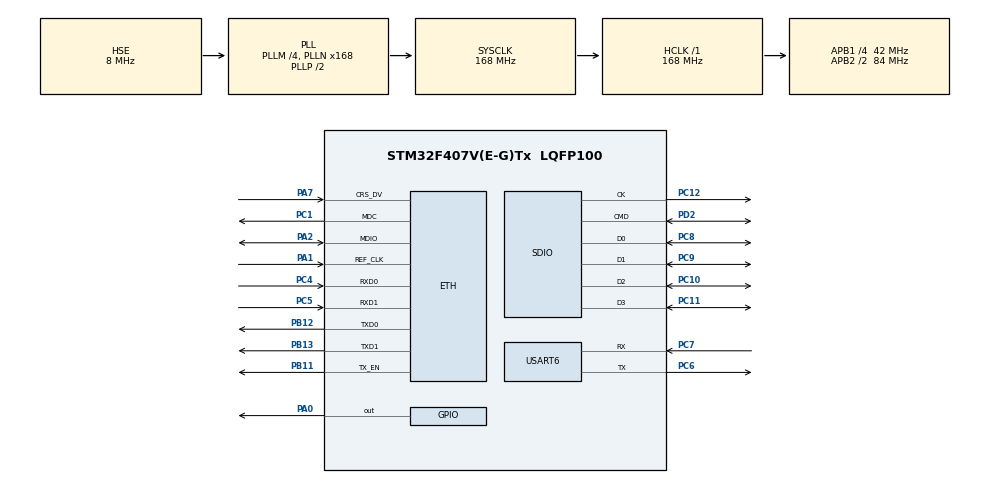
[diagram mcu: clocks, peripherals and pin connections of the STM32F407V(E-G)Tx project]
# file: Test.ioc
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Dma.Request0=SDIO_RX
Dma.Request1=SDIO_TX
Dma.SDIO_RX.0.Direction=DMA_PERIPH_TO_MEMORY
Dma.SDIO_RX.0.FIFOMode=DMA_FIFOMODE_ENABLE
Dma.SDIO_RX.0.FIFOThreshold=DMA_FIFO_THRESHOLD_FULL
Dma.SDIO_RX.0.Instance=DMA2_Stream3
Dma.SDIO_RX.0.MemBurst=DMA_MBURST_INC4
Dma.SDIO_RX.0.MemDataAlignment=DMA_MDATAALIGN_WORD
Dma.SDIO_RX.0.MemInc=DMA_MINC_ENABLE
Dma.SDIO_RX.0.Mode=DMA_PFCTRL
Dma.SDIO_RX.0.PeriphBurst=DMA_PBURST_INC4
Dma.SDIO_RX.0.PeriphDataAlignment=DMA_PDATAALIGN_WORD
Dma.SDIO_RX.0.PeriphInc=DMA_PINC_DISABLE
Dma.SDIO_RX.0.Priority=DMA_PRIORITY_LOW
Dma.SDIO_TX.1.Direction=DMA_MEMORY_TO_PERIPH
Dma.SDIO_TX.1.FIFOMode=DMA_FIFOMODE_ENABLE
Dma.SDIO_TX.1.FIFOThreshold=DMA_FIFO_THRESHOLD_FULL
Dma.SDIO_TX.1.Instance=DMA2_Stream6
Dma.SDIO_TX.1.MemBurst=DMA_MBURST_INC4
Dma.SDIO_TX.1.MemDataAlignment=DMA_MDATAALIGN_WORD
Dma.SDIO_TX.1.MemInc=DMA_MINC_ENABLE
Dma.SDIO_TX.1.Mode=DMA_PFCTRL
Dma.SDIO_TX.1.PeriphBurst=DMA_PBURST_INC4
Dma.SDIO_TX.1.PeriphDataAlignment=DMA_PDATAALIGN_WORD
Dma.SDIO_TX.1.PeriphInc=DMA_PINC_DISABLE
Dma.SDIO_TX.1.Priority=DMA_PRIORITY_LOW
ETH.MediaInterface=ETH_MEDIA_INTERFACE_RMII
FATFS.USE_DMA_CODE_SD=1
FATFS._MAX_SS=4096
LWIP.GATEWAY_ADDRESS=192.168.018.001
LWIP.IP_ADDRESS=192.168.018.125
LWIP.LWIP_DHCP=0
LWIP.LWIP_HTTPD=1
LWIP.LWIP_HTTPD_CGI=1
LWIP.LWIP_HTTPD_DYNAMIC_HEADERS=1
LWIP.LWIP_HTTPD_MAX_CGI_PARAMETERS=16
LWIP.LWIP_HTTPD_MAX_TAG_INSERT_LEN=6000
LWIP.LWIP_HTTPD_MAX_TAG_NAME_LEN=16
LWIP.LWIP_HTTPD_SSI=1
LWIP.LWIP_HTTPD_SSI_INCLUDE_TAG=0
LWIP.LWIP_HTTPD_SSI_MULTIPART=1
LWIP.LWIP_HTTPD_SUPPORT_POST=1
LWIP.MEM_SIZE=1024*10
LWIP.NETMASK_ADDRESS=255.255.255.000
LWIP.PBUF_POOL_BUFSIZE=1600
LWIP.Version=v2.1.2_Cube
Mcu.Family=STM32F4
Mcu.Name=STM32F407V(E-G)Tx
Mcu.Package=LQFP100
NVIC.DMA2_Stream3_IRQn=true\:0\:0\:false\:false\:true\:false\:true
NVIC.DMA2_Stream6_IRQn=true\:0\:0\:false\:false\:true\:false\:true
NVIC.PriorityGroup=NVIC_PRIORITYGROUP_4
NVIC.SDIO_IRQn=true\:0\:0\:false\:false\:true\:true\:true
PA0-WKUP.Signal=GPIO_Output
PA1.Mode=RMII
PA1.Signal=ETH_REF_CLK
PA13.Mode=Serial_Wire
PA13.Signal=SYS_JTMS-SWDIO
PA14.Mode=Serial_Wire
PA14.Signal=SYS_JTCK-SWCLK
PA2.Mode=RMII
PA2.Signal=ETH_MDIO
PA7.Mode=RMII
PA7.Signal=ETH_CRS_DV
PB11.Mode=RMII
PB11.Signal=ETH_TX_EN
PB12.Mode=RMII
PB12.Signal=ETH_TXD0
PB13.Mode=RMII
PB13.Signal=ETH_TXD1
PC1.Mode=RMII
PC1.Signal=ETH_MDC
PC10.GPIO_PuPd=GPIO_PULLUP
PC10.Mode=SD_4_bits_Wide_bus
PC10.Signal=SDIO_D2
PC11.GPIO_PuPd=GPIO_PULLUP
PC11.Mode=SD_4_bits_Wide_bus
PC11.Signal=SDIO_D3
PC12.Mode=SD_4_bits_Wide_bus
PC12.Signal=SDIO_CK
PC4.Mode=RMII
PC4.Signal=ETH_RXD0
PC5.Mode=RMII
PC5.Signal=ETH_RXD1
PC6.Mode=Asynchronous
PC6.Signal=USART6_TX
PC7.Mode=Asynchronous
PC7.Signal=USART6_RX
PC8.GPIO_PuPd=GPIO_PULLUP
PC8.Mode=SD_4_bits_Wide_bus
PC8.Signal=SDIO_D0
PC9.GPIO_PuPd=GPIO_PULLUP
PC9.Mode=SD_4_bits_Wide_bus
PC9.Signal=SDIO_D1
PD2.GPIO_PuPd=GPIO_PULLUP
PD2.Mode=SD_4_bits_Wide_bus
PD2.Signal=SDIO_CMD
PH0-OSC_IN.Mode=HSE-External-Oscillator
PH0-OSC_IN.Signal=RCC_OSC_IN
PH1-OSC_OUT.Mode=HSE-External-Oscillator
PH1-OSC_OUT.Signal=RCC_OSC_OUT
ProjectManager.HeapSize=0x200
ProjectManager.StackSize=0x400
ProjectManager.TargetToolchain=STM32CubeIDE
RCC.48MHZClocksFreq_Value=48000000
RCC.AHBFreq_Value=168000000
RCC.APB1CLKDivider=RCC_HCLK_DIV4
RCC.APB1Freq_Value=42000000
RCC.APB1TimFreq_Value=84000000
RCC.APB2CLKDivider=RCC_HCLK_DIV2
RCC.APB2Freq_Value=84000000
RCC.APB2TimFreq_Value=168000000
RCC.CortexFreq_Value=168000000
RCC.HCLKFreq_Value=168000000
RCC.HSE_VALUE=8000000
RCC.HSI_VALUE=16000000
RCC.LSE_VALUE=32768
RCC.PLLM=4
RCC.PLLN=168
RCC.PLLQ=7
RCC.PLLSourceVirtual=RCC_PLLSOURCE_HSE
RCC.SYSCLKFreq_VALUE=168000000
RCC.SYSCLKSource=RCC_SYSCLKSOURCE_PLLCLK
RCC.VCOOutputFreq_Value=336000000
USART6.VirtualMode=VM_ASYNC
VP_FATFS_VS_SDIO.Mode=SDIO
VP_LWIP_VS_Enabled.Mode=Enabled
board=custom

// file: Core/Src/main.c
/* USER CODE BEGIN Header */
/**
  ******************************************************************************
  * @file           : main.c
  * @brief          : Main program body
  ******************************************************************************
  * @attention
  *
  * Copyright (c) 2022 STMicroelectronics.
  * All rights reserved.
  *
  * This software is licensed under terms that can be found in the LICENSE file
  * in the root directory of this software component.
  * If no LICENSE file comes with this software, it is provided AS-IS.
  *
  ******************************************************************************
  */
/* USER CODE END Header */
#include "main.h"
#include "fatfs.h"
#include "lwip.h"

/* USER CODE BEGIN Includes */
#include "http_ssi.h"
#include <stdio.h>/* для printf */
#include "lwip/apps/httpd.h" // including httpd.h [- HTTPd #1 -]
#include "zerg_sdio.h"

char path[20] = "0:";            // Путь к SD карте после форматирования
char *name_sd = "config.txt";    // Имя будущего файла
char *folder_name = "FOLDER-15"; // Имя будущей папки

extern uint8_t rtext;

/* USER CODE END Includes */

SD_HandleTypeDef hsd;
DMA_HandleTypeDef hdma_sdio_rx;
DMA_HandleTypeDef hdma_sdio_tx;

UART_HandleTypeDef huart6;

void SystemClock_Config(void);
static void MX_GPIO_Init(void);
static void MX_DMA_Init(void);
static void MX_SDIO_SD_Init(void);
static void MX_USART6_UART_Init(void);
/* USER CODE BEGIN PFP */
int _write(int file, char *ptr, int len) {
	int i;
	HAL_UART_Transmit(&huart6, (uint8_t*) ptr, len, 50);
	for (i = 0; i < len; i++) {
		ITM_SendChar(*ptr++);
	}
	return len;
}
/* USER CODE END PFP */

/* USER CODE BEGIN 0 */
struct netif gnetif;
/* USER CODE END 0 */

int main(void)
{

  /* MCU Configuration--------------------------------------------------------*/

  /* Reset of all peripherals, Initializes the Flash interface and the Systick. */
  HAL_Init();

  /* Configure the system clock */
  SystemClock_Config();

  /* Initialize all configured peripherals */
  MX_GPIO_Init();
  MX_DMA_Init();
  MX_SDIO_SD_Init();
  MX_USART6_UART_Init();
  MX_FATFS_Init();
  MX_LWIP_Init();
  /* USER CODE BEGIN 2 */
  http_server_init();
  /* USER CODE END 2 */
//  extern struct tablepins tp[num_lines];
//  strcpy(tp[0].pins, "PA0");

  //printf(" ------- PINS -------%s \n", tp[0].pins);

  /* Infinite loop */
  /* USER CODE BEGIN WHILE */
  //zerg_mount();
  //zerg_format();
  //zerg_creat_folder(folder_name);
  //zerg_open();
  //zerg_write();
  //zerg_read();
  zerg_get_data_from_sd();

  //print_structure();
  //printf("Data from SD card: %s\r\n",rtext);
  //zerg_add_data();
  //zerg_read();
  //zerg_get_free_space();    // Узнаем свободное место до удаления
  //zerg_scan_files(path);    // НЕ ВИДИТ ФАЙЛЫ!!!, РАЗБЕРИСЬ!!!
  //zerg_delete(folder_name); // Удаляем папку "folder_name" или файл "name"
  //zerg_get_free_space();    // Узнаем свободное место после удаления
  //zerg_get_file_info(name_sd);
  //zerg_ummount(path); // НЕ РАБОТАЕТ, РАЗБЕРИСЬ!!!

  while (1)
  {
    /* USER CODE END WHILE */

    /* USER CODE BEGIN 3 */
      ethernetif_input(&gnetif);
      sys_check_timeouts();
  }
  /* USER CODE END 3 */
}

void SystemClock_Config(void)
{
  RCC_OscInitTypeDef RCC_OscInitStruct = {0};
  RCC_ClkInitTypeDef RCC_ClkInitStruct = {0};

  /** Configure the main internal regulator output voltage
  */
  __HAL_RCC_PWR_CLK_ENABLE();
  __HAL_PWR_VOLTAGESCALING_CONFIG(PWR_REGULATOR_VOLTAGE_SCALE1);
  /** Initializes the RCC Oscillators according to the specified parameters
  * in the RCC_OscInitTypeDef structure.
  */
  RCC_OscInitStruct.OscillatorType = RCC_OSCILLATORTYPE_HSE;
  RCC_OscInitStruct.HSEState = RCC_HSE_ON;
  RCC_OscInitStruct.PLL.PLLState = RCC_PLL_ON;
  RCC_OscInitStruct.PLL.PLLSource = RCC_PLLSOURCE_HSE;
  RCC_OscInitStruct.PLL.PLLM = 4;
  RCC_OscInitStruct.PLL.PLLN = 168;
  RCC_OscInitStruct.PLL.PLLP = RCC_PLLP_DIV2;
  RCC_OscInitStruct.PLL.PLLQ = 7;
  if (HAL_RCC_OscConfig(&RCC_OscInitStruct) != HAL_OK)
  {
    Error_Handler();
  }
  /** Initializes the CPU, AHB and APB buses clocks
  */
  RCC_ClkInitStruct.ClockType = RCC_CLOCKTYPE_HCLK|RCC_CLOCKTYPE_SYSCLK
                              |RCC_CLOCKTYPE_PCLK1|RCC_CLOCKTYPE_PCLK2;
  RCC_ClkInitStruct.SYSCLKSource = RCC_SYSCLKSOURCE_PLLCLK;
  RCC_ClkInitStruct.AHBCLKDivider = RCC_SYSCLK_DIV1;
  RCC_ClkInitStruct.APB1CLKDivider = RCC_HCLK_DIV4;
  RCC_ClkInitStruct.APB2CLKDivider = RCC_HCLK_DIV2;

  if (HAL_RCC_ClockConfig(&RCC_ClkInitStruct, FLASH_LATENCY_5) != HAL_OK)
  {
    Error_Handler();
  }
}

static void MX_SDIO_SD_Init(void)
{

  hsd.Instance = SDIO;
  hsd.Init.ClockEdge = SDIO_CLOCK_EDGE_RISING;
  hsd.Init.ClockBypass = SDIO_CLOCK_BYPASS_DISABLE;
  hsd.Init.ClockPowerSave = SDIO_CLOCK_POWER_SAVE_DISABLE;
  hsd.Init.BusWide = SDIO_BUS_WIDE_1B;
  hsd.Init.HardwareFlowControl = SDIO_HARDWARE_FLOW_CONTROL_DISABLE;
  hsd.Init.ClockDiv = 0;

}

static void MX_USART6_UART_Init(void)
{

  huart6.Instance = USART6;
  huart6.Init.BaudRate = 115200;
  huart6.Init.WordLength = UART_WORDLENGTH_8B;
  huart6.Init.StopBits = UART_STOPBITS_1;
  huart6.Init.Parity = UART_PARITY_NONE;
  huart6.Init.Mode = UART_MODE_TX_RX;
  huart6.Init.HwFlowCtl = UART_HWCONTROL_NONE;
  huart6.Init.OverSampling = UART_OVERSAMPLING_16;
  if (HAL_UART_Init(&huart6) != HAL_OK)
  {
    Error_Handler();
  }

}

static void MX_DMA_Init(void)
{

  /* DMA controller clock enable */
  __HAL_RCC_DMA2_CLK_ENABLE();

  /* DMA interrupt init */
  /* DMA2_Stream3_IRQn interrupt configuration */
  HAL_NVIC_SetPriority(DMA2_Stream3_IRQn, 0, 0);
  HAL_NVIC_EnableIRQ(DMA2_Stream3_IRQn);
  /* DMA2_Stream6_IRQn interrupt configuration */
  HAL_NVIC_SetPriority(DMA2_Stream6_IRQn, 0, 0);
  HAL_NVIC_EnableIRQ(DMA2_Stream6_IRQn);

}

static void MX_GPIO_Init(void)
{
  GPIO_InitTypeDef GPIO_InitStruct = {0};

  /* GPIO Ports Clock Enable */
  __HAL_RCC_GPIOH_CLK_ENABLE();
  __HAL_RCC_GPIOC_CLK_ENABLE();
  __HAL_RCC_GPIOA_CLK_ENABLE();
  __HAL_RCC_GPIOB_CLK_ENABLE();
  __HAL_RCC_GPIOD_CLK_ENABLE();

  /*Configure GPIO pin Output Level */
  HAL_GPIO_WritePin(GPIOA, GPIO_PIN_0, GPIO_PIN_RESET);

  /*Configure GPIO pin : PA0 */
  GPIO_InitStruct.Pin = GPIO_PIN_0;
  GPIO_InitStruct.Mode = GPIO_MODE_OUTPUT_PP;
  GPIO_InitStruct.Pull = GPIO_NOPULL;
  GPIO_InitStruct.Speed = GPIO_SPEED_FREQ_LOW;
  HAL_GPIO_Init(GPIOA, &GPIO_InitStruct);

}

void Error_Handler(void)
{
  __disable_irq();
  while (1)
  {
  }
}
